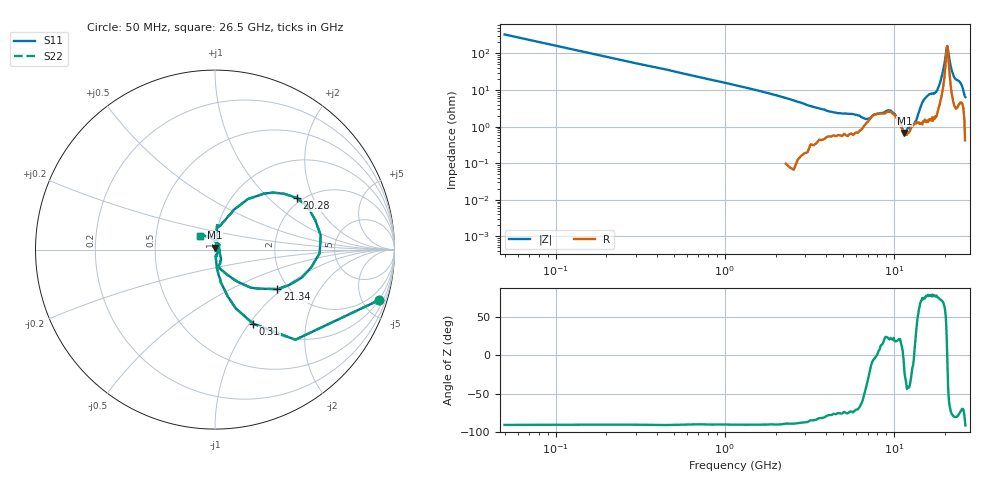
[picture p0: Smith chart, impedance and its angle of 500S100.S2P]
!  American Technical Ceramics  Date:  3/6/98
!  One Norden Lane
!  Huntington Station,  NY.  11746-2102
!  Tel:  (516) 547-5700  Fax:  (516) 547-5748
!  Part Number  500S100
!  Description: Broadband Microwave capacitor
!  Application:
# GHZ S DB R 50
! Freq  |S11|  S11 Ph  |S21|  S21 Ph  |S12|  S12 Ph  |S22|  S22 Ph
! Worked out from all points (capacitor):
!   201 points, 50 MHz to 26.5 GHz, reference 50 ohm
!   read as one part in series: C = 9.82 pF near 180 MHz
!   lowest |Z| = 672 mohm at 11.56 GHz (marker M1)
!   series resonance near 7.916 GHz, so ESL is about 41 pH
!   S11 on the Smith chart (normalised r, x): 50 MHz: 0.96, -6.56; 310 MHz: 0.99, -1.04; 20.28 GHz: 1.87, +1.52; 21.34 GHz: 1.75, -0.93; 26.5 GHz: 0.84, +0.13
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0.05  -0.37 -17.0  -10.76 73.9  -10.76 73.9  -0.37 -17.0
0.18  -3.44 -48.3  -2.53 42.2  -2.53 42.2  -3.44 -48.3
0.31  -6.66 -62.8  -0.98 27.6  -0.98 27.6  -6.66 -62.8
1.9  -22.21 -84.3  -0.01 4.4  -0.01 4.4  -22.21 -84.3
4.55  -29.61 -77.2  -0.04 0.8  -0.04 0.8  -29.61 -77.2
6.13  -28.56 -82.2  -0.08 0.1  -0.08 0.1  -28.56 -82.2
7.32  -33.97 -37.0  -0.16 -0.2  -0.16 -0.2  -33.97 -37.0
8.91  -30.02 44.1  -0.20 0.1  -0.20 0.1  -30.02 44.1
10.89  -32.21 76.7  -0.15 0.9  -0.15 0.9  -32.21 76.7
11.56  -39.87 91.8  -0.11 0.9  -0.11 0.9  -39.87 91.8
12.08  -53.76 59.4  -0.11 0.8  -0.11 0.8  -53.76 59.4
13.28  -35.26 47.1  -0.11 0.5  -0.11 0.5  -35.26 47.1
14.99  -20.77 82.7  -0.18 -0.4  -0.18 -0.4  -20.77 82.7
17.77  -18.01 82.7  -0.29 -2.4  -0.29 -2.4  -18.01 82.7
19.49  -10.28 59.0  -1.22 -12.6  -1.22 -12.6  -10.28 59.0
20.28  -5.36 32.2  -4.93 -20.3  -4.93 -20.3  -5.36 32.2
20.68  -4.52 7.8  -8.54 5.2  -8.54 5.2  -4.52 7.8
21.34  -7.72 -32.4  -3.18 31.7  -3.18 31.7  -7.72 -32.4
22.14  -14.15 -57.6  -1.08 22.2  -1.08 22.2  -14.15 -57.6
24.52  -23.28 -61.7  -0.64 14.5  -0.64 14.5  -23.28 -61.7
25.31  -33.84 29.9  -0.58 14.2  -0.58 14.2  -33.84 29.9
26.5  -18.96 137.5  -0.59 12.7  -0.59 12.7  -18.96 137.5
